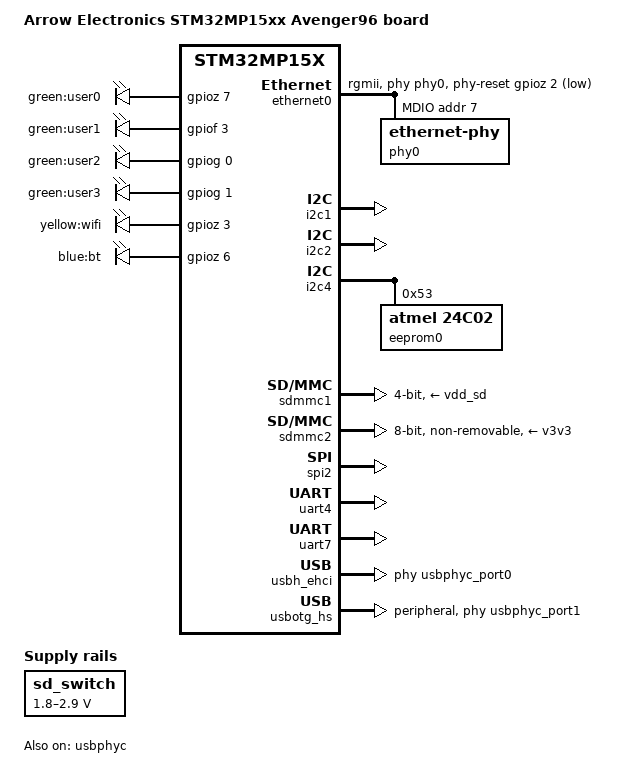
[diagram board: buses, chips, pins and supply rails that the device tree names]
// SPDX-License-Identifier: (GPL-2.0 OR BSD-3-Clause)
/*
 * Copyright (C) Linaro Ltd 2019 - All Rights Reserved
 * Author: Manivannan Sadhasivam <manivannan.sadhasivam@linaro.org>
 * Copyright (C) 2020 Marek Vasut <marex@denx.de>
 */

/dts-v1/;

#include "stm32mp15xx-dhcor-io1v8.dtsi"
#include "stm32mp15xx-dhcor-avenger96-u-boot.dtsi"

/ {
	model = "Arrow Electronics STM32MP15xx Avenger96 board";
	compatible = "arrow,stm32mp15xx-avenger96", "st,stm32mp15x";

	aliases {
		eeprom0 = &eeprom0;
		ethernet0 = &ethernet0;
		mmc0 = &sdmmc1;
		serial0 = &uart4;
		serial1 = &uart7;
	};

	chosen {
		stdout-path = "serial0:115200n8";
	};

	led {
		compatible = "gpio-leds";
		led1 {
			label = "green:user0";
			gpios = <&gpioz 7 GPIO_ACTIVE_HIGH>;
			linux,default-trigger = "heartbeat";
			default-state = "off";
		};

		led2 {
			label = "green:user1";
			gpios = <&gpiof 3 GPIO_ACTIVE_HIGH>;
			linux,default-trigger = "mmc0";
			default-state = "off";
		};

		led3 {
			label = "green:user2";
			gpios = <&gpiog 0 GPIO_ACTIVE_HIGH>;
			linux,default-trigger = "mmc1";
			default-state = "off";
		};

		led4 {
			label = "green:user3";
			gpios = <&gpiog 1 GPIO_ACTIVE_HIGH>;
			linux,default-trigger = "none";
			default-state = "off";
			panic-indicator;
		};

		led5 {
			label = "yellow:wifi";
			gpios = <&gpioz 3 GPIO_ACTIVE_HIGH>;
			linux,default-trigger = "phy0tx";
			default-state = "off";
		};

		led6 {
			label = "blue:bt";
			gpios = <&gpioz 6 GPIO_ACTIVE_HIGH>;
			linux,default-trigger = "bluetooth-power";
			default-state = "off";
		};
	};

	sd_switch: regulator-sd_switch {
		compatible = "regulator-gpio";
		regulator-name = "sd_switch";
		regulator-min-microvolt = <1800000>;
		regulator-max-microvolt = <2900000>;
		regulator-type = "voltage";
		regulator-always-on;

		gpios = <&gpioi 5 GPIO_ACTIVE_HIGH>;
		gpios-states = <0>;
		states = <1800000 0x1>,
			 <2900000 0x0>;
	};
};

&ethernet0 {
	status = "okay";
	pinctrl-0 = <&ethernet0_rgmii_pins_b>;
	pinctrl-1 = <&ethernet0_rgmii_pins_sleep_b>;
	pinctrl-names = "default", "sleep";
	phy-mode = "rgmii";
	max-speed = <1000>;
	phy-handle = <&phy0>;
	phy-reset-gpios = <&gpioz 2 GPIO_ACTIVE_LOW>;

	mdio0 {
		#address-cells = <1>;
		#size-cells = <0>;
		compatible = "snps,dwmac-mdio";
		phy0: ethernet-phy@7 {
			reg = <7>;
		};
	};
};

&i2c1 {	/* X6 I2C1 */
	pinctrl-names = "default";
	pinctrl-0 = <&i2c1_pins_b>;
	i2c-scl-rising-time-ns = <185>;
	i2c-scl-falling-time-ns = <20>;
	status = "okay";
	/delete-property/dmas;
	/delete-property/dma-names;
};

&i2c2 {	/* X6 I2C2 */
	pinctrl-names = "default";
	pinctrl-0 = <&i2c2_pins_c>;
	i2c-scl-rising-time-ns = <185>;
	i2c-scl-falling-time-ns = <20>;
	status = "okay";
	/delete-property/dmas;
	/delete-property/dma-names;
};

&i2c4 {
	eeprom0: eeprom@53 {
		compatible = "atmel,24c02";
		reg = <0x53>;
		pagesize = <16>;
	};
};

&sdmmc1 {
	pinctrl-names = "default", "opendrain", "sleep";
	pinctrl-0 = <&sdmmc1_b4_pins_a &sdmmc1_dir_pins_b>;
	pinctrl-1 = <&sdmmc1_b4_od_pins_a &sdmmc1_dir_pins_b>;
	pinctrl-2 = <&sdmmc1_b4_sleep_pins_a &sdmmc1_dir_sleep_pins_b>;
	disable-wp;
	st,sig-dir;
	st,neg-edge;
	st,use-ckin;
	bus-width = <4>;
	vmmc-supply = <&vdd_sd>;
	vqmmc-supply = <&sd_switch>;
	status = "okay";
};

&sdmmc2 {
	pinctrl-names = "default";
	pinctrl-0 = <&sdmmc2_b4_pins_a &sdmmc2_d47_pins_b>;
	non-removable;
	no-sd;
	no-sdio;
	st,neg-edge;
	bus-width = <8>;
	vmmc-supply = <&v3v3>;
	mmc-ddr-3_3v;
	status = "okay";
};

&spi2 {
	pinctrl-names = "default";
	pinctrl-0 = <&spi2_pins_a>;
	status = "okay";
};

&uart4 {
	/* On Low speed expansion header */
	label = "LS-UART1";
	pinctrl-names = "default";
	pinctrl-0 = <&uart4_pins_b>;
	status = "okay";
};

&uart7 {
	/* On Low speed expansion header */
	label = "LS-UART0";
	pinctrl-names = "default";
	pinctrl-0 = <&uart7_pins_a>;
	status = "okay";
};

&usbh_ehci {
	phys = <&usbphyc_port0>;
	phy-names = "usb";
	status = "okay";
};

&usbotg_hs {
	dr_mode = "peripheral";
	phys = <&usbphyc_port1 0>;
	phy-names = "usb2-phy";
	status = "okay";
};

&usbphyc {
	status = "okay";
};

&usbphyc_port0 {
	phy-supply = <&vdd_usb>;
};

&usbphyc_port1 {
	phy-supply = <&vdd_usb>;
};
